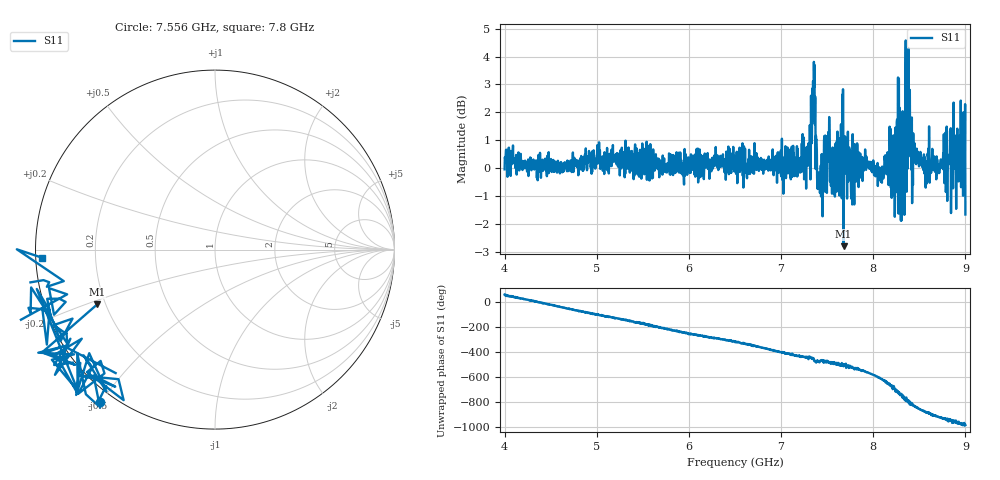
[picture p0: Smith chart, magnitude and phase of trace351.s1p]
! Created with skrf 1.8.0 (http://scikit-rf.org).
# Hz S RI R 50.0
!freq ReS11 ImS11
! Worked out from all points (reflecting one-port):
!   1601 points, 4 GHz to 9 GHz, reference 50 ohm
!   lowest |S11| = -2.8 dB at 7.678 GHz (marker M1), VSWR 6.26, Z = 8.37 - j10.8 ohm
!   phase of S11 starts at 56 deg and turns -1038 deg over the sweep
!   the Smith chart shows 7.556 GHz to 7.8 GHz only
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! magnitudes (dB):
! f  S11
! 4 GHz  0.0
! 4.625 GHz  -0.1
! 5.25 GHz  -0.3
! 5.875 GHz  -0.1
! 6.5 GHz  0.3
! 7.125 GHz  0.4
! 7.297 GHz  0.9
! 7.347 GHz  3.1
! 7.362 GHz  3.7
! 7.4 GHz  -0.4
! 7.425 GHz  -0.3
! 7.503 GHz  0.3
! 7.578 GHz  -0.2
! 7.65 GHz  1.6
! 7.678 GHz  -2.8
! 7.703 GHz  0.8
! 7.75 GHz  0.1
! 8.225 GHz  -0.1
! 8.262 GHz  -0.9
! 8.312 GHz  1.6
! 8.334 GHz  0.9
! 8.35 GHz  3.7
! 8.375 GHz  0.7
! 8.441 GHz  0.8
! 8.562 GHz  -0.1
! 8.922 GHz  -0.2
! 8.972 GHz  0.2
! 9 GHz  -1.7
